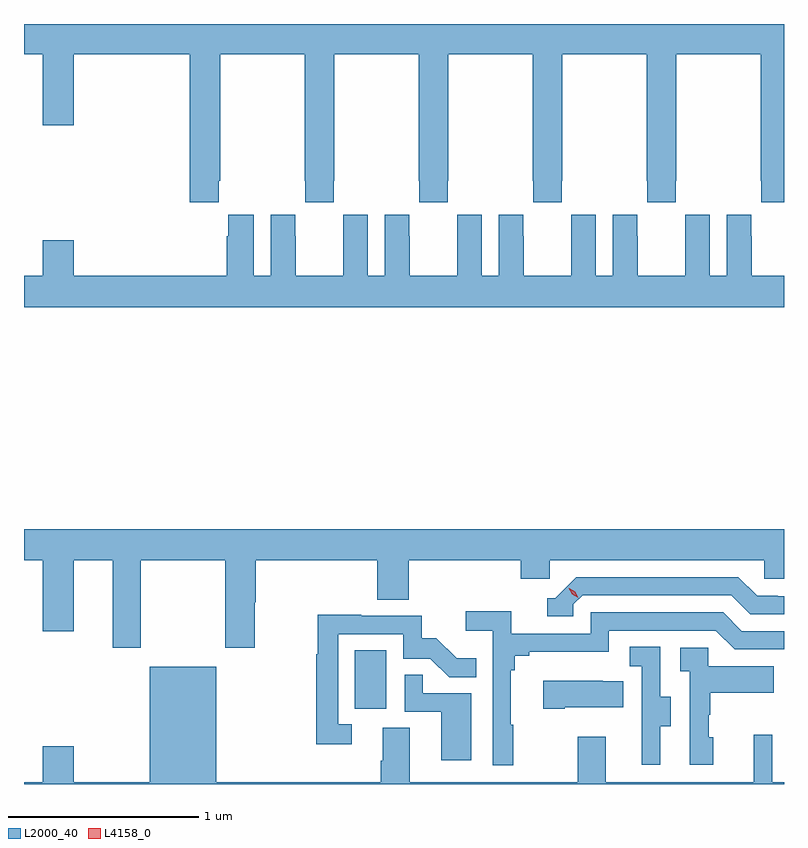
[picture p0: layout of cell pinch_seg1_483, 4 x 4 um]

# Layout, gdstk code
import gdstk
lib = gdstk.Library(unit=1e-6, precision=1e-09)
def R(c, l, rs):  # rectangles x0, y0, x1, y1
    for r in rs: c.add(gdstk.rectangle(r[:2], r[2:], *l))
def P(c, l, *ps):  # polygons
    for p in ps: c.add(gdstk.Polygon(p, *l))
L2000_40 = (2000, 40)
L4158_0 = (4158, 0)

pinch_seg1_483 = lib.new_cell('pinch_seg1_483')
R(pinch_seg1_483, L2000_40, [(1089.728,537.63,1089.892,537.937)])
P(pinch_seg1_483, L2000_40, [(1089.011,540.409),(1089.018,540.409),(1089.018,541.076),(1089.463,541.076),(1089.463,540.409),(1089.465,540.409),(1089.465,540.297),(1089.615,540.297),(1089.615,540.409),(1089.618,540.409),(1089.618,541.076),(1090.063,541.076),(1090.063,540.409),(1090.065,540.409),(1090.065,540.297),(1090.215,540.297),(1090.215,540.409),(1090.218,540.409),(1090.218,541.076),(1090.663,541.076),(1090.663,540.409),(1090.665,540.409),(1090.665,540.297),(1090.815,540.297),(1090.815,540.409),(1090.818,540.409),(1090.818,541.076),(1091.263,541.076),(1091.263,540.409),(1091.265,540.409),(1091.265,540.297),(1091.415,540.297),(1091.415,540.409),(1091.418,540.409),(1091.418,541.076),(1091.863,541.076),(1091.863,540.409),(1091.865,540.409),(1091.865,540.297),(1091.986,540.297),(1091.986,541.234),(1087.986,541.234),(1087.986,541.076),(1088.084,541.076),(1088.084,540.702),(1088.248,540.702),(1088.248,541.076),(1088.858,541.076),(1088.858,540.297),(1089.011,540.297)],
  [(1090.866,540.229),(1090.866,540.116),(1090.865,540.116),(1090.865,539.908),(1090.615,539.908),(1090.615,540.116),(1090.614,540.116),(1090.614,540.229),(1090.484,540.229),(1090.484,539.908),(1090.396,539.908),(1090.396,540.229),(1090.266,540.229),(1090.266,540.116),(1090.265,540.116),(1090.265,539.908),(1090.015,539.908),(1090.015,540.116),(1090.014,540.116),(1090.014,540.229),(1089.884,540.229),(1089.884,539.908),(1089.796,539.908),(1089.796,540.229),(1089.666,540.229),(1089.666,540.116),(1089.665,540.116),(1089.665,539.908),(1089.415,539.908),(1089.415,540.116),(1089.414,540.116),(1089.414,540.229),(1089.284,540.229),(1089.284,539.908),(1089.196,539.908),(1089.196,540.229),(1089.062,540.229),(1089.062,540.116),(1089.053,540.116),(1089.053,539.908),(1088.248,539.908),(1088.248,540.097),(1088.084,540.097),(1088.084,539.908),(1087.986,539.908),(1087.986,539.744),(1091.986,539.744),(1091.986,539.908),(1091.815,539.908),(1091.815,540.116),(1091.814,540.116),(1091.814,540.229),(1091.684,540.229),(1091.684,539.908),(1091.596,539.908),(1091.596,540.229),(1091.466,540.229),(1091.466,540.116),(1091.465,540.116),(1091.465,539.908),(1091.215,539.908),(1091.215,540.116),(1091.214,540.116),(1091.214,540.229),(1091.084,540.229),(1091.084,539.908),(1090.996,539.908),(1090.996,540.229)],
  [(1088.601,538.412),(1089.046,538.412),(1089.046,537.951),(1089.201,537.951),(1089.201,538.19),(1089.206,538.19),(1089.206,538.412),(1089.845,538.412),(1089.845,538.204),(1090.01,538.204),(1090.01,538.412),(1090.601,538.412),(1090.601,538.314),(1090.752,538.314),(1090.752,538.412),(1091.883,538.412),(1091.883,538.314),(1091.986,538.314),(1091.986,538.576),(1087.986,538.576),(1087.986,538.412),(1088.084,538.412),(1088.084,538.038),(1088.248,538.038),(1088.248,538.412),(1088.453,538.412),(1088.453,537.951),(1088.601,537.951)],
  [(1090.878,538.179),(1090.926,538.227),(1091.709,538.227),(1091.808,538.128),(1091.986,538.128),(1091.986,538.221),(1091.952,538.221),(1091.952,538.224),(1091.845,538.224),(1091.746,538.323),(1090.893,538.323),(1090.782,538.212),(1090.739,538.212),(1090.739,538.116),(1090.878,538.116)],
  [(1090.561,537.545),(1090.549,537.545),(1090.549,537.833),(1090.568,537.833),(1090.568,537.91),(1090.645,537.91),(1090.645,537.929),(1091.064,537.929),(1091.064,538.041),(1091.628,538.041),(1091.727,537.942),(1091.986,537.942),(1091.986,538.038),(1091.764,538.038),(1091.665,538.137),(1090.968,538.137),(1090.968,538.026),(1090.55,538.026),(1090.55,538.142),(1090.311,538.142),(1090.311,538.04),(1090.452,538.04),(1090.452,537.333),(1090.561,537.333)],
  [(1089.712,537.549),(1089.639,537.549),(1089.639,538.023),(1089.981,538.023),(1089.981,537.894),(1090.125,537.894),(1090.223,537.796),(1090.367,537.796),(1090.367,537.895),(1090.263,537.895),(1090.156,538.002),(1090.08,538.002),(1090.08,538.119),(1089.761,538.119),(1089.761,538.124),(1089.531,538.124),(1089.531,537.916),(1089.523,537.916),(1089.523,537.444),(1089.712,537.444)],
  [(1091.335,537.538),(1091.389,537.538),(1091.389,537.693),(1091.334,537.693),(1091.334,537.956),(1091.175,537.956),(1091.175,537.853),(1091.238,537.853),(1091.238,537.549),(1091.237,537.549),(1091.237,537.336),(1091.335,537.336)],
  [(1091.614,537.48),(1091.589,537.48),(1091.589,537.599),(1091.599,537.599),(1091.599,537.713),(1091.933,537.713),(1091.933,537.853),(1091.586,537.853),(1091.586,537.951),(1091.439,537.951),(1091.439,537.827),(1091.49,537.827),(1091.49,537.336),(1091.614,537.336)],
  [(1091.986,537.244),(1091.925,537.244),(1091.925,537.493),(1091.828,537.493),(1091.828,537.244),(1091.047,537.244),(1091.047,537.484),(1090.9,537.484),(1090.9,537.244),(1090.015,537.244),(1090.015,537.53),(1089.875,537.53),(1089.875,537.356),(1089.863,537.356),(1089.863,537.244),(1088.998,537.244),(1088.998,537.85),(1088.648,537.85),(1088.648,537.244),(1088.248,537.244),(1088.248,537.433),(1088.084,537.433),(1088.084,537.244),(1087.986,537.244),(1087.986,537.234),(1091.986,537.234)],
  [(1090.339,537.711),(1090.085,537.711),(1090.085,537.809),(1089.99,537.809),(1089.99,537.615),(1090.181,537.615),(1090.181,537.36),(1090.339,537.36)],
  [(1090.831,537.638),(1091.141,537.638),(1091.141,537.775),(1091.033,537.775),(1091.033,537.778),(1090.719,537.778),(1090.719,537.631),(1090.831,537.631)])
P(pinch_seg1_483, L4158_0, [(1090.902,538.213),(1090.871,538.232),(1090.854,538.264),(1090.854,538.265),(1090.855,538.265),(1090.886,538.246),(1090.902,538.213),(1090.902,538.213)])

lib.write_gds('pinch_seg1_483.gds')
